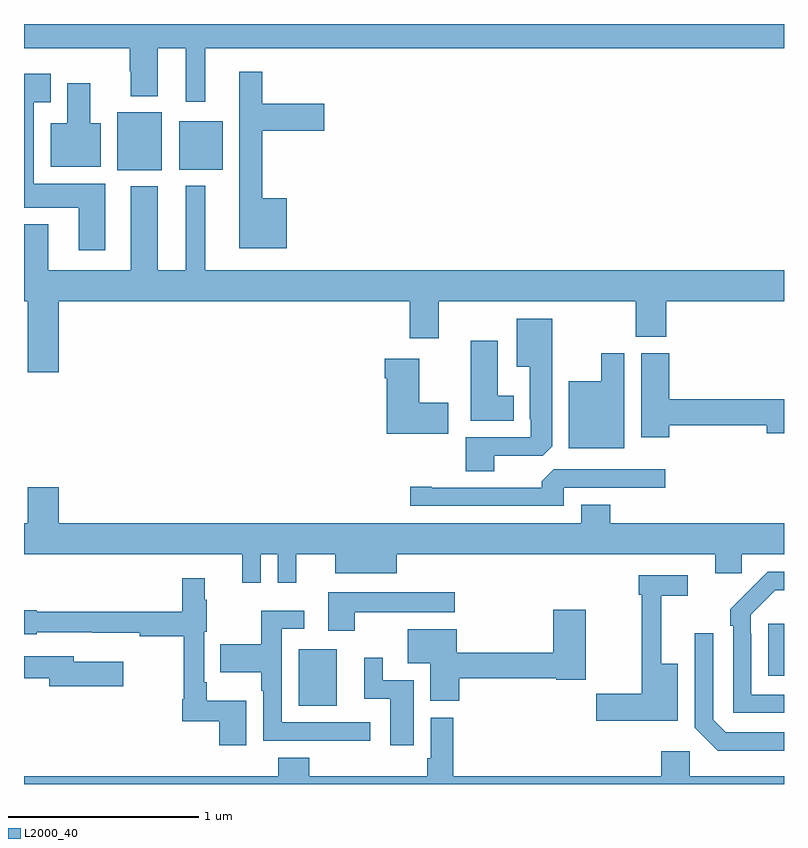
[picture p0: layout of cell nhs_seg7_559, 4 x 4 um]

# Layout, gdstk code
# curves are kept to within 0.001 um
import gdstk
lib = gdstk.Library(unit=1e-6, precision=1e-09)
def R(c, l, rs):  # rectangles x0, y0, x1, y1
    for r in rs: c.add(gdstk.rectangle(r[:2], r[2:], *l))
def P(c, l, *ps):  # polygons
    for p in ps: c.add(gdstk.Polygon(p, *l))
L2000_40 = (2000, 40)

nhs_seg7_559 = lib.new_cell('nhs_seg7_559')
R(nhs_seg7_559, L2000_40, [(154.445,1074.413,154.645,1074.709), (156.917,1074.569,157,1074.844), (153.491,1077.23,153.724,1077.535), (153.818,1077.233,154.045,1077.487)])
P(nhs_seg7_559, L2000_40, [(153.955,1077.872),(157,1077.872),(157,1078),(153,1078),(153,1077.872),(153.556,1077.872),(153.556,1077.752),(153.563,1077.752),(153.563,1077.62),(153.703,1077.62),(153.703,1077.872),(153.851,1077.872),(153.851,1077.591),(153.955,1077.591)],
  [(154.384,1077.082),(154.255,1077.082),(154.255,1077.437),(154.579,1077.437),(154.579,1077.579),(154.255,1077.579),(154.255,1077.748),(154.133,1077.748),(154.133,1076.819),(154.384,1076.819)],
  [(153.427,1077.16),(153.052,1077.16),(153.052,1077.587),(153.142,1077.587),(153.142,1077.739),(153,1077.739),(153,1077.032),(153.287,1077.032),(153.287,1076.808),(153.427,1076.808)],
  [(153.403,1077.478),(153.349,1077.478),(153.349,1077.688),(153.227,1077.688),(153.227,1077.478),(153.14,1077.478),(153.14,1077.248),(153.403,1077.248)],
  [(153.127,1076.947),(153,1076.947),(153,1076.54),(153.02,1076.54),(153.02,1076.166),(153.184,1076.166),(153.184,1076.54),(155.03,1076.54),(155.03,1076.346),(155.182,1076.346),(155.182,1076.54),(156.22,1076.54),(156.22,1076.353),(156.38,1076.353),(156.38,1076.54),(157,1076.54),(157,1076.704),(153.955,1076.704),(153.955,1077.148),(153.851,1077.148),(153.851,1076.704),(153.703,1076.704),(153.703,1077.145),(153.563,1077.145),(153.563,1076.704),(153.127,1076.704)],
  [(155.476,1075.728),(155.73,1075.728),(155.779,1075.777),(155.779,1076.449),(155.594,1076.449),(155.594,1076.195),(155.663,1076.195),(155.663,1075.921),(155.667,1075.921),(155.667,1075.824),(155.324,1075.824),(155.324,1075.645),(155.476,1075.645)],
  [(155.578,1076.044),(155.494,1076.044),(155.494,1076.332),(155.351,1076.332),(155.351,1075.913),(155.578,1075.913)],
  [(156.395,1075.888),(156.908,1075.888),(156.908,1075.846),(157,1075.846),(157,1076.024),(156.395,1076.024),(156.395,1076.268),(156.248,1076.268),(156.248,1075.824),(156.395,1075.824)],
  [(156.16,1076.266),(156.038,1076.266),(156.038,1076.119),(155.867,1076.119),(155.867,1075.766),(156.16,1075.766)],
  [(155.233,1076.007),(155.08,1076.007),(155.08,1076.239),(154.898,1076.239),(154.898,1076.135),(154.91,1076.135),(154.91,1075.844),(155.233,1075.844)],
  [(155.841,1075.56),(156.376,1075.56),(156.376,1075.656),(155.787,1075.656),(155.726,1075.594),(155.726,1075.56),(155.146,1075.56),(155.146,1075.565),(155.034,1075.565),(155.034,1075.464),(155.841,1075.464)],
  [(154.245,1075.208),(154.335,1075.208),(154.335,1075.059),(154.433,1075.059),(154.433,1075.208),(154.637,1075.208),(154.637,1075.109),(154.963,1075.109),(154.963,1075.208),(156.638,1075.208),(156.638,1075.11),(156.777,1075.11),(156.777,1075.208),(157,1075.208),(157,1075.372),(156.086,1075.372),(156.086,1075.471),(155.933,1075.471),(155.933,1075.372),(153.184,1075.372),(153.184,1075.561),(153.02,1075.561),(153.02,1075.372),(153,1075.372),(153,1075.208),(154.148,1075.208),(154.148,1075.059),(154.245,1075.059)],
  [(157,1074.471),(156.828,1074.471),(156.828,1074.791),(156.825,1074.791),(156.825,1074.891),(156.954,1075.02),(157,1075.02),(157,1075.116),(156.914,1075.116),(156.717,1074.921),(156.717,1074.833),(156.732,1074.833),(156.732,1074.375),(157,1074.375)],
  [(156.442,1074.634),(156.353,1074.634),(156.353,1074.99),(156.493,1074.99),(156.493,1075.098),(156.235,1075.098),(156.235,1074.995),(156.25,1074.995),(156.25,1074.476),(156.012,1074.476),(156.012,1074.334),(156.442,1074.334)],
  [(154.171,1074.439),(153.961,1074.439),(153.961,1074.535),(153.948,1074.535),(153.948,1074.801),(153.961,1074.801),(153.961,1074.971),(153.95,1074.971),(153.95,1075.084),(153.832,1075.084),(153.832,1074.907),(153.066,1074.907),(153.066,1074.915),(153,1074.915),(153,1074.788),(153.066,1074.788),(153.066,1074.798),(153.358,1074.798),(153.358,1074.797),(153.61,1074.797),(153.61,1074.778),(153.84,1074.778),(153.84,1074.445),(153.832,1074.445),(153.832,1074.33),(154.028,1074.33),(154.028,1074.204),(154.171,1074.204)],
  [(154.741,1074.905),(155.266,1074.905),(155.266,1075.009),(154.601,1075.009),(154.601,1074.807),(154.741,1074.807)],
  [(155.291,1074.556),(155.802,1074.556),(155.802,1074.548),(155.956,1074.548),(155.956,1074.916),(155.786,1074.916),(155.786,1074.692),(155.278,1074.692),(155.278,1074.814),(155.021,1074.814),(155.021,1074.635),(155.138,1074.635),(155.138,1074.438),(155.291,1074.438)],
  [(154.822,1074.324),(154.356,1074.324),(154.356,1074.816),(154.474,1074.816),(154.474,1074.913),(154.248,1074.913),(154.248,1074.735),(154.033,1074.735),(154.033,1074.587),(154.248,1074.587),(154.248,1074.491),(154.26,1074.491),(154.26,1074.228),(154.585,1074.228),(154.585,1074.227),(154.822,1074.227)],
  [(157,1074.273),(156.693,1074.273),(156.627,1074.339),(156.627,1074.793),(156.531,1074.793),(156.531,1074.297),(156.652,1074.176),(157,1074.176)],
  [(153.523,1074.643),(153.262,1074.643),(153.262,1074.672),(153,1074.672),(153,1074.556),(153.134,1074.556),(153.134,1074.514),(153.523,1074.514)],
  [(155.05,1074.546),(154.888,1074.546),(154.888,1074.664),(154.79,1074.664),(154.79,1074.45),(154.928,1074.45),(154.928,1074.204),(155.05,1074.204)],
  [(157,1074.04),(156.504,1074.04),(156.504,1074.172),(156.353,1074.172),(156.353,1074.04),(155.258,1074.04),(155.258,1074.349),(155.142,1074.349),(155.142,1074.136),(155.122,1074.136),(155.122,1074.04),(154.502,1074.04),(154.502,1074.139),(154.337,1074.139),(154.337,1074.04),(153,1074.04),(153,1074),(157,1074)])

lib.write_gds('nhs_seg7_559.gds')
